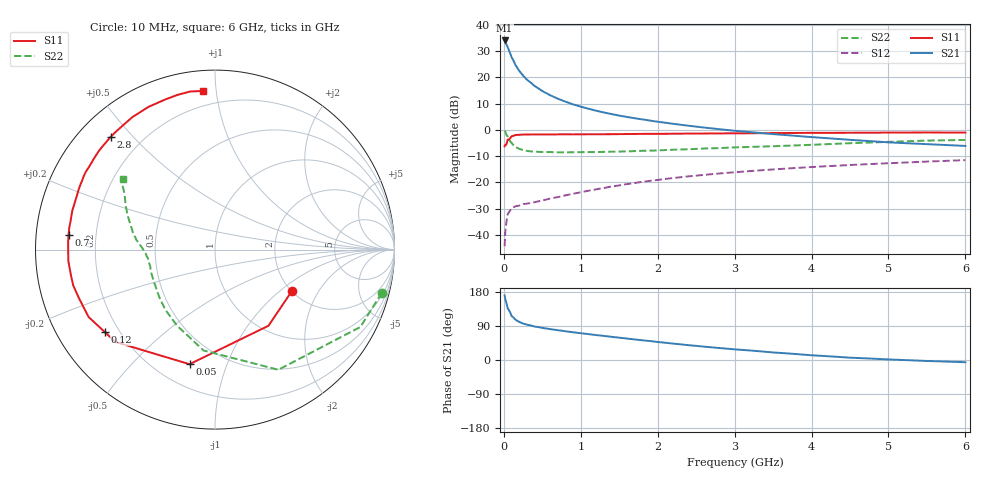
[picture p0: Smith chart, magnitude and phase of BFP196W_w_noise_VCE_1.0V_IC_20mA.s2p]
! (c) 2017  Infineon Technologies AG, Munich
! Infineon Technologies  Discrete & RF Semiconductors
! BFP196W
! VCE =  1.0 V,  IC =  20 mA
! Common Emitter S-Parameters:  Jan 2017
# GHz  S  MA  R  50
!  f  S11  S21  S12  S22
! GHz  MAG  ANG  MAG  ANG  MAG  ANG  MAG  ANG
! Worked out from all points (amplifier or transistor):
!   77 points, 10 MHz to 6 GHz, reference 50 ohm
!   highest |S21| = 34.0 dB at 10 MHz (marker M1)
!   |S21| within 3 dB of that: start of sweep to 56.49 MHz
!   unconditionally stable (mu >= 1): 905.9 MHz to 3.836 GHz
!   at 130 MHz: K = 0.25, MSG = 27.7 dB, |S12| = -29.4 dB
!   at 2.2 GHz: K = 1.07, MAG = 8.7 dB, |S12| = -18.4 dB
!   at 6 GHz: K = 0.98, MSG = 2.7 dB, |S12| = -11.5 dB
!   lowest NFmin = 1.02 dB at 450 MHz
!   S11 on the Smith chart (normalised r, x): 10 MHz: 2.01, -1.21; 50 MHz: 0.33, -0.75; 120 MHz: 0.15, -0.33; 700 MHz: 0.10, +0.05; 2.8 GHz: 0.09, +0.43; 6 GHz: 0.11, +0.92
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0.01  0.4868 -28.2  50.35 170.3  0.0061 78.8  0.9604 -14.5
0.02  0.5183 -54.9  47.8 159.5  0.012 73.8  0.9176 -28.0
0.05  0.654 -102.5  37.56 136.3  0.0248 50.4  0.757 -62.2
0.1  0.7564 -137.1  24.27 116.2  0.0321 36.7  0.5655 -96.5
0.12  0.7668 -143.2  21.43 113.1  0.0332 34.5  0.5214 -103.6
0.15  0.798 -151.9  17.34 106.5  0.035 31.5  0.4738 -116.5
0.2  0.8046 -160.2  13.29 100.5  0.0362 29.7  0.4352 -129.2
0.25  0.8148 -165.9  10.78 96.2  0.0386 29.8  0.4128 -137.7
0.3  0.8152 -169.9  9.018 93.3  0.0393 30.4  0.3972 -144.1
0.4  0.8196 -175.6  6.836 88.4  0.042 34.6  0.3841 -152.5
0.5  0.818 -179.7  5.48 84.7  0.0451 36.8  0.3791 -158.0
0.6  0.8194 177.0  4.584 81.5  0.0492 40.1  0.3775 -161.9
0.7  0.8201 174.2  3.927 78.8  0.0523 42.3  0.3732 -164.8
0.9  0.8201 169.1  3.057 73.2  0.0608 46.2  0.3749 -168.5
1.1  0.8241 164.6  2.523 68.3  0.0694 48.7  0.3766 -171.7
1.5  0.8295 156.5  1.868 58.9  0.0875 50.7  0.3861 -176.6
2.1  0.8414 144.8  1.365 45.5  0.1162 49.7  0.4122 177.5
2.8  0.8562 132.8  1.03 31.6  0.1476 46.0  0.4492 171.3
3.1  0.8596 128.1  0.933 26.6  0.1599 43.8  0.4681 168.1
4.1  0.8771 113.7  0.711 11.3  0.1995 36.6  0.5264 158.0
5.1  0.8874 102.7  0.569 0.7  0.2348 29.1  0.5968 147.9
6  0.8865 94.4  0.494 -5.8  0.2652 22.4  0.6427 142.5
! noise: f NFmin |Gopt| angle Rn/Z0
0.45  1.02  0.4  170  0.05
0.9  1.2  0.51  178  0.05
1.9  2.11  0.69  -155  0.11
2.4  2.55  0.74  -147  0.2
